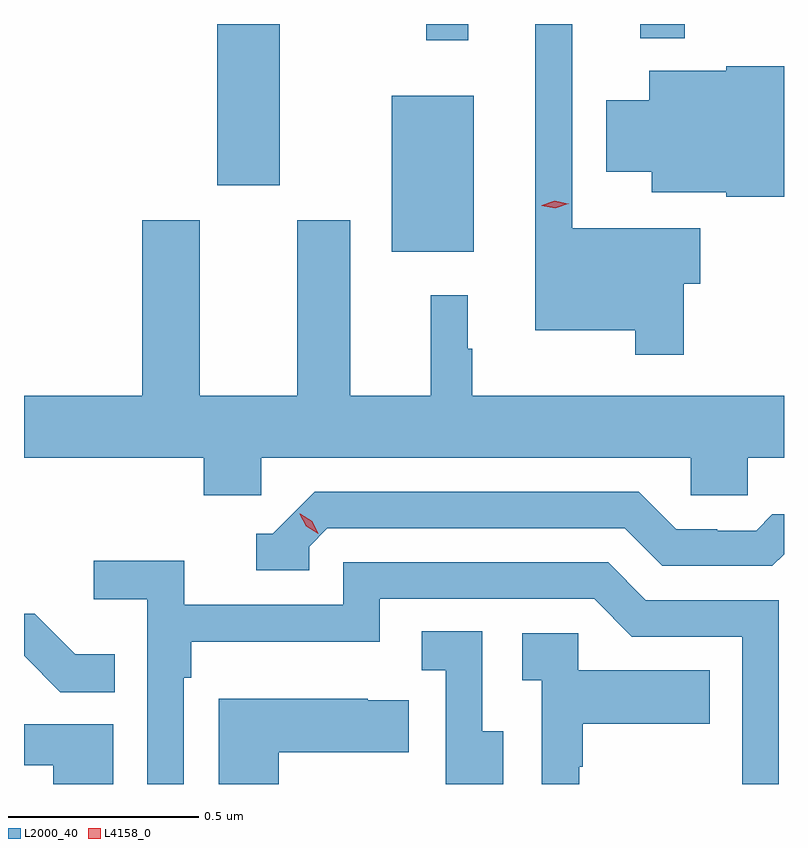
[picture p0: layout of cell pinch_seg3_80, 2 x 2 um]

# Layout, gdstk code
import gdstk
lib = gdstk.Library(unit=1e-6, precision=1e-09)
def R(c, l, rs):  # rectangles x0, y0, x1, y1
    for r in rs: c.add(gdstk.rectangle(r[:2], r[2:], *l))
def P(c, l, *ps):  # polygons
    for p in ps: c.add(gdstk.Polygon(p, *l))
L2000_40 = (2000, 40)
L4158_0 = (4158, 0)

pinch_seg3_80 = lib.new_cell('pinch_seg3_80')
R(pinch_seg3_80, L2000_40, [(1048.694,733.427,1048.909,733.837), (1048.235,733.602,1048.399,734.026), (1048.785,733.983,1048.895,734.026), (1049.348,733.988,1049.465,734.026)])
P(pinch_seg3_80, L2000_40, [(1049.462,733.342),(1049.506,733.342),(1049.506,733.489),(1049.169,733.489),(1049.169,734.026),(1049.072,734.026),(1049.072,733.22),(1049.334,733.22),(1049.334,733.155),(1049.462,733.155)],
  [(1049.726,733.915),(1049.574,733.915),(1049.574,733.903),(1049.372,733.903),(1049.372,733.825),(1049.258,733.825),(1049.258,733.637),(1049.378,733.637),(1049.378,733.583),(1049.574,733.583),(1049.574,733.571),(1049.726,733.571)],
  [(1048.35,732.884),(1049.481,732.884),(1049.481,732.786),(1049.631,732.786),(1049.631,732.884),(1049.726,732.884),(1049.726,733.048),(1048.906,733.048),(1048.906,733.172),(1048.894,733.172),(1048.894,733.312),(1048.796,733.312),(1048.796,733.048),(1048.585,733.048),(1048.585,733.51),(1048.445,733.51),(1048.445,733.048),(1048.189,733.048),(1048.189,733.51),(1048.037,733.51),(1048.037,733.048),(1047.726,733.048),(1047.726,732.884),(1048.199,732.884),(1048.199,732.786),(1048.35,732.786)],
  [(1048.476,732.651),(1048.524,732.699),(1049.307,732.699),(1049.406,732.6),(1049.695,732.6),(1049.726,732.631),(1049.726,732.736),(1049.695,732.736),(1049.653,732.693),(1049.55,732.693),(1049.55,732.696),(1049.443,732.696),(1049.344,732.795),(1048.491,732.795),(1048.38,732.684),(1048.337,732.684),(1048.337,732.588),(1048.476,732.588)],
  [(1048.146,732.305),(1048.166,732.305),(1048.166,732.401),(1048.662,732.401),(1048.662,732.513),(1049.226,732.513),(1049.325,732.414),(1049.616,732.414),(1049.616,732.026),(1049.712,732.026),(1049.712,732.51),(1049.362,732.51),(1049.263,732.609),(1048.566,732.609),(1048.566,732.498),(1048.148,732.498),(1048.148,732.614),(1047.909,732.614),(1047.909,732.512),(1048.05,732.512),(1048.05,732.026),(1048.146,732.026)],
  [(1047.965,732.367),(1047.861,732.367),(1047.754,732.474),(1047.726,732.474),(1047.726,732.363),(1047.821,732.268),(1047.965,732.268)],
  [(1048.987,732.165),(1048.932,732.165),(1048.932,732.428),(1048.773,732.428),(1048.773,732.325),(1048.836,732.325),(1048.836,732.026),(1048.987,732.026)],
  [(1049.187,732.071),(1049.197,732.071),(1049.197,732.185),(1049.531,732.185),(1049.531,732.325),(1049.184,732.325),(1049.184,732.423),(1049.037,732.423),(1049.037,732.299),(1049.088,732.299),(1049.088,732.026),(1049.187,732.026)],
  [(1048.396,732.11),(1048.739,732.11),(1048.739,732.247),(1048.631,732.247),(1048.631,732.25),(1048.238,732.25),(1048.238,732.026),(1048.396,732.026)],
  [(1047.961,732.183),(1047.726,732.183),(1047.726,732.075),(1047.803,732.075),(1047.803,732.026),(1047.961,732.026)])
P(pinch_seg3_80, L4158_0, [(1049.124,733.541),(1049.088,733.548),(1049.088,733.548),(1049.088,733.549),(1049.123,733.561),(1049.158,733.553),(1049.159,733.553),(1049.158,733.553)],
  [(1048.5,732.685),(1048.469,732.704),(1048.452,732.736),(1048.452,732.737),(1048.453,732.737),(1048.484,732.718),(1048.5,732.685),(1048.5,732.685)])

lib.write_gds('pinch_seg3_80.gds')
